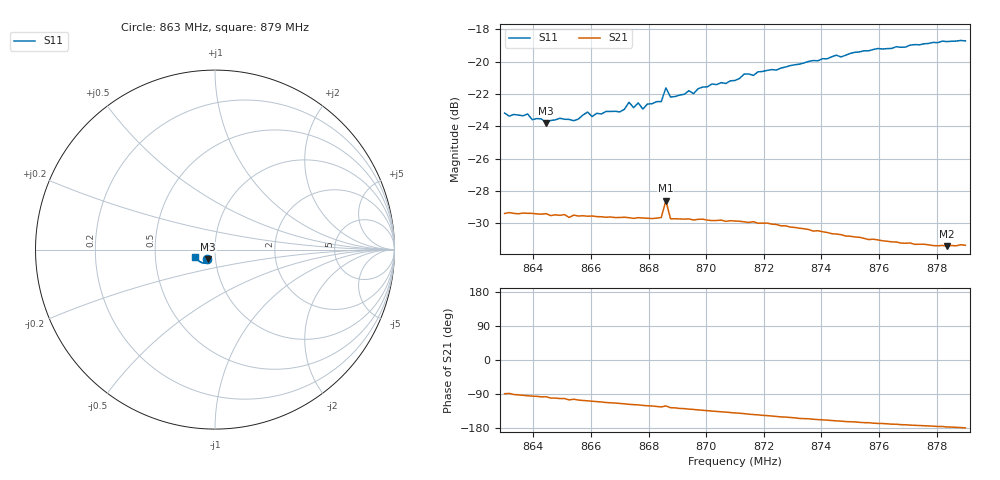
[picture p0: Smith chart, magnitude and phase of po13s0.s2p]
# HZ S RI R 50
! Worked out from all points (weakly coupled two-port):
!   101 points, 863 MHz to 879 MHz, reference 50 ohm
!   highest |S21| = -28.59 dB at 868.6 MHz (marker M1); lowest = -31.4 dB at 878.36 MHz (marker M2)
!   lowest |S11| = -23.8 dB at 864.44 MHz (marker M3), VSWR 1.14, Z = 46 - j4.81 ohm
!   |S11| at or under -10 dB: start of sweep to end of sweep
!   S12 and S22 are empty: the file has one direction only
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8.63e8  -0.044 -0.0537  0.000643 -0.034  0 0  0 0
8.638e8  -0.0415 -0.0551  -0.00256 -0.0339  0 0  0 0
8.6396e8  -0.0384 -0.0539  -0.00315 -0.0338  0 0  0 0
8.6444e8  -0.0385 -0.052  -0.00415 -0.0337  0 0  0 0
8.6492e8  -0.0377 -0.0552  -0.00682 -0.0328  0 0  0 0
8.654e8  -0.0339 -0.0563  -0.00787 -0.0326  0 0  0 0
8.6572e8  -0.0352 -0.0587  -0.00966 -0.032  0 0  0 0
8.67e8  -0.0353 -0.0605  -0.0138 -0.03  0 0  0 0
8.6732e8  -0.0402 -0.0633  -0.0149 -0.0294  0 0  0 0
8.6748e8  -0.0345 -0.0633  -0.0153 -0.029  0 0  0 0
8.6764e8  -0.0362 -0.0652  -0.0156 -0.029  0 0  0 0
8.678e8  -0.0348 -0.0624  -0.0164 -0.0285  0 0  0 0
8.6844e8  -0.0363 -0.066  -0.0184 -0.0274  0 0  0 0
8.686e8  -0.0311 -0.077  -0.0192 -0.0318  0 0  0 0
8.6876e8  -0.0377 -0.0681  -0.0191 -0.0265  0 0  0 0
8.71e8  -0.0474 -0.0736  -0.0245 -0.0208  0 0  0 0
8.7132e8  -0.052 -0.0755  -0.0251 -0.0199  0 0  0 0
8.7164e8  -0.0515 -0.0747  -0.0259 -0.0188  0 0  0 0
8.7372e8  -0.0685 -0.074  -0.0274 -0.012  0 0  0 0
8.7644e8  -0.091 -0.0617  -0.0273 -0.00514  0 0  0 0
8.7836e8  -0.1062 -0.0453  -0.0269 -0.0015  0 0  0 0
8.79e8  -0.1091 -0.0396  -0.0271 -0.000382  0 0  0 0
